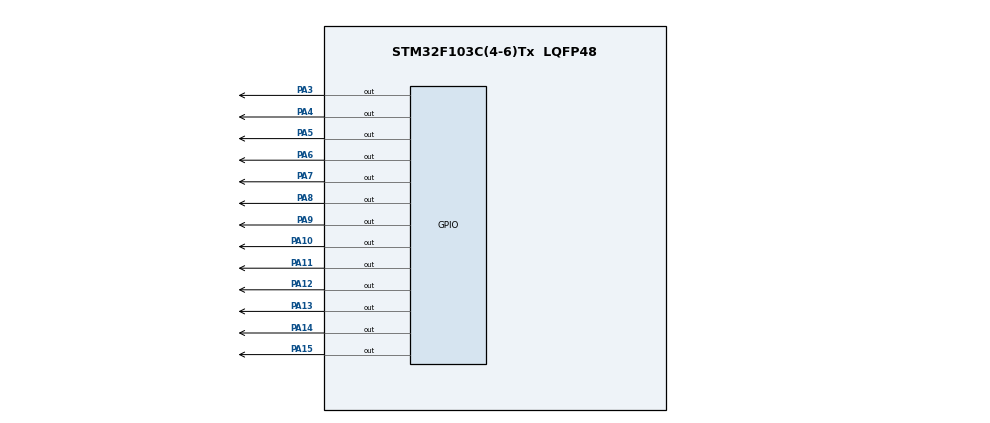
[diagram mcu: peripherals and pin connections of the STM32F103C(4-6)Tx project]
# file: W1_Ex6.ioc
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Mcu.Family=STM32F1
Mcu.Name=STM32F103C(4-6)Tx
Mcu.Package=LQFP48
NVIC.PriorityGroup=NVIC_PRIORITYGROUP_4
PA10.Signal=GPIO_Output
PA11.Signal=GPIO_Output
PA12.Signal=GPIO_Output
PA13.Signal=GPIO_Output
PA14.Signal=GPIO_Output
PA15.Signal=GPIO_Output
PA3.Signal=GPIO_Output
PA4.Signal=GPIO_Output
PA5.Signal=GPIO_Output
PA6.Signal=GPIO_Output
PA7.Signal=GPIO_Output
PA8.Signal=GPIO_Output
PA9.Signal=GPIO_Output
PD0-OSC_IN.Mode=HSE-External-Oscillator
PD0-OSC_IN.Signal=RCC_OSC_IN
PD1-OSC_OUT.Mode=HSE-External-Oscillator
PD1-OSC_OUT.Signal=RCC_OSC_OUT
ProjectManager.HeapSize=0x200
ProjectManager.StackSize=0x400
ProjectManager.TargetToolchain=STM32CubeIDE
RCC.APB1Freq_Value=8000000
RCC.APB2Freq_Value=8000000
VP_SYS_VS_ND.Mode=No_Debug
board=custom

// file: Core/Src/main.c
/* USER CODE BEGIN Header */
/**
  ******************************************************************************
  * @file           : main.c
  * @brief          : Main program body
  ******************************************************************************
  * @attention
  *
  * <h2><center>&copy; Copyright (c) 2021 STMicroelectronics.
  * All rights reserved.</center></h2>
  *
  * This software component is licensed by ST under BSD 3-Clause license,
  * the "License"; You may not use this file except in compliance with the
  * License. You may obtain a copy of the License at:
  *                        opensource.org/licenses/BSD-3-Clause
  *
  ******************************************************************************
  */
/* USER CODE END Header */
#include "main.h"

/* USER CODE BEGIN PV */
int hour = 15, minute = 59, second = 45;
/* USER CODE END PV */

void SystemClock_Config(void);
static void MX_GPIO_Init(void);

/* USER CODE BEGIN 0 */
void setNumberOnClock(int num){
	switch (num) {
		case 0:
			HAL_GPIO_WritePin(GPIOA, GPIO_PIN_4, 0);
			break;
		case 1:
			HAL_GPIO_WritePin(GPIOA, GPIO_PIN_5, 0);
			break;
		case 2:
			HAL_GPIO_WritePin(GPIOA, GPIO_PIN_6, 0);
			break;
		case 3:
			HAL_GPIO_WritePin(GPIOA, GPIO_PIN_7, 0);
			break;
		case 4:
			HAL_GPIO_WritePin(GPIOA, GPIO_PIN_8, 0);
			break;
		case 5:
			HAL_GPIO_WritePin(GPIOA, GPIO_PIN_9, 0);
			break;
		case 6:
			HAL_GPIO_WritePin(GPIOA, GPIO_PIN_10, 0);
			break;
		case 7:
			HAL_GPIO_WritePin(GPIOA, GPIO_PIN_11, 0);
			break;
		case 8:
			HAL_GPIO_WritePin(GPIOA, GPIO_PIN_12, 0);
			break;
		case 9:
			HAL_GPIO_WritePin(GPIOA, GPIO_PIN_13, 0);
			break;
		case 10:
			HAL_GPIO_WritePin(GPIOA, GPIO_PIN_14, 0);
			break;
		case 11:
			HAL_GPIO_WritePin(GPIOA, GPIO_PIN_15, 0);
			break;
		default:
			break;
	}
}

void clearAllClock(){
	HAL_GPIO_WritePin(GPIOA, GPIO_PIN_4, 1);
	HAL_GPIO_WritePin(GPIOA, GPIO_PIN_5, 1);
	HAL_GPIO_WritePin(GPIOA, GPIO_PIN_6, 1);
	HAL_GPIO_WritePin(GPIOA, GPIO_PIN_7, 1);
	HAL_GPIO_WritePin(GPIOA, GPIO_PIN_8, 1);
	HAL_GPIO_WritePin(GPIOA, GPIO_PIN_9, 1);
	HAL_GPIO_WritePin(GPIOA, GPIO_PIN_10, 1);
	HAL_GPIO_WritePin(GPIOA, GPIO_PIN_11, 1);
	HAL_GPIO_WritePin(GPIOA, GPIO_PIN_12, 1);
	HAL_GPIO_WritePin(GPIOA, GPIO_PIN_13, 1);
	HAL_GPIO_WritePin(GPIOA, GPIO_PIN_14, 1);
	HAL_GPIO_WritePin(GPIOA, GPIO_PIN_15, 1);
}

void clearNumberOnClock(int num){
	switch (num) {
		case 0:
			HAL_GPIO_WritePin(GPIOA, GPIO_PIN_4, 1);
			break;
		case 1:
			HAL_GPIO_WritePin(GPIOA, GPIO_PIN_5, 1);
			break;
		case 2:
			HAL_GPIO_WritePin(GPIOA, GPIO_PIN_6, 1);
			break;
		case 3:
			HAL_GPIO_WritePin(GPIOA, GPIO_PIN_7, 1);
			break;
		case 4:
			HAL_GPIO_WritePin(GPIOA, GPIO_PIN_8, 1);
			break;
		case 5:
			HAL_GPIO_WritePin(GPIOA, GPIO_PIN_9, 1);
			break;
		case 6:
			HAL_GPIO_WritePin(GPIOA, GPIO_PIN_10, 1);
			break;
		case 7:
			HAL_GPIO_WritePin(GPIOA, GPIO_PIN_11, 1);
			break;
		case 8:
			HAL_GPIO_WritePin(GPIOA, GPIO_PIN_12, 1);
			break;
		case 9:
			HAL_GPIO_WritePin(GPIOA, GPIO_PIN_13, 1);
			break;
		case 10:
			HAL_GPIO_WritePin(GPIOA, GPIO_PIN_14, 1);
			break;
		case 11:
			HAL_GPIO_WritePin(GPIOA, GPIO_PIN_15, 1);
			break;
		default:
			break;
	}
};

/* USER CODE END 0 */

int main(void)
{

  /* MCU Configuration--------------------------------------------------------*/

  /* Reset of all peripherals, Initializes the Flash interface and the Systick. */
  HAL_Init();

  /* Configure the system clock */
  SystemClock_Config();

  /* Initialize all configured peripherals */
  MX_GPIO_Init();
  /* USER CODE BEGIN 2 */

  // turn off all LEDs
  clearAllClock();

  /* USER CODE END 2 */

  /* Infinite loop */
  while (1)
  {
	    /* USER CODE END WHILE */

	  	  	// set LED for hour
			setNumberOnClock(hour % 12);
			// set LED for minute
			setNumberOnClock(minute / 5);
			// set LED for second
			setNumberOnClock(second / 5);

			// Delay 1s
			HAL_Delay(1000);

			// turn off all LEDs
			clearAllClock();

			// update hour, minute, second
			second ++;
			if ( second >= 60) {
				second = 0;
				minute ++;
			}

			if( minute >= 60) {
				minute = 0;
				hour ++;
			}

			if( hour >= 24){
				hour = 0;
			}

	    /* USER CODE BEGIN 3 */
    /* USER CODE BEGIN 3 */
  }
  /* USER CODE END 3 */
}

void SystemClock_Config(void)
{
  RCC_OscInitTypeDef RCC_OscInitStruct = {0};
  RCC_ClkInitTypeDef RCC_ClkInitStruct = {0};

  /** Initializes the RCC Oscillators according to the specified parameters
  * in the RCC_OscInitTypeDef structure.
  */
  RCC_OscInitStruct.OscillatorType = RCC_OSCILLATORTYPE_HSI;
  RCC_OscInitStruct.HSIState = RCC_HSI_ON;
  RCC_OscInitStruct.HSICalibrationValue = RCC_HSICALIBRATION_DEFAULT;
  RCC_OscInitStruct.PLL.PLLState = RCC_PLL_NONE;
  if (HAL_RCC_OscConfig(&RCC_OscInitStruct) != HAL_OK)
  {
    Error_Handler();
  }
  /** Initializes the CPU, AHB and APB buses clocks
  */
  RCC_ClkInitStruct.ClockType = RCC_CLOCKTYPE_HCLK|RCC_CLOCKTYPE_SYSCLK
                              |RCC_CLOCKTYPE_PCLK1|RCC_CLOCKTYPE_PCLK2;
  RCC_ClkInitStruct.SYSCLKSource = RCC_SYSCLKSOURCE_HSI;
  RCC_ClkInitStruct.AHBCLKDivider = RCC_SYSCLK_DIV1;
  RCC_ClkInitStruct.APB1CLKDivider = RCC_HCLK_DIV1;
  RCC_ClkInitStruct.APB2CLKDivider = RCC_HCLK_DIV1;

  if (HAL_RCC_ClockConfig(&RCC_ClkInitStruct, FLASH_LATENCY_0) != HAL_OK)
  {
    Error_Handler();
  }
}

static void MX_GPIO_Init(void)
{
  GPIO_InitTypeDef GPIO_InitStruct = {0};

  /* GPIO Ports Clock Enable */
  __HAL_RCC_GPIOD_CLK_ENABLE();
  __HAL_RCC_GPIOA_CLK_ENABLE();

  /*Configure GPIO pin Output Level */
  HAL_GPIO_WritePin(GPIOA, GPIO_PIN_4|GPIO_PIN_5|GPIO_PIN_6|GPIO_PIN_7
                          |GPIO_PIN_8|GPIO_PIN_9|GPIO_PIN_10|GPIO_PIN_11
                          |GPIO_PIN_12|GPIO_PIN_13|GPIO_PIN_14|GPIO_PIN_15, GPIO_PIN_RESET);

  /*Configure GPIO pins : PA4 PA5 PA6 PA7
                           PA8 PA9 PA10 PA11
                           PA12 PA13 PA14 PA15 */
  GPIO_InitStruct.Pin = GPIO_PIN_4|GPIO_PIN_5|GPIO_PIN_6|GPIO_PIN_7
                          |GPIO_PIN_8|GPIO_PIN_9|GPIO_PIN_10|GPIO_PIN_11
                          |GPIO_PIN_12|GPIO_PIN_13|GPIO_PIN_14|GPIO_PIN_15;
  GPIO_InitStruct.Mode = GPIO_MODE_OUTPUT_PP;
  GPIO_InitStruct.Pull = GPIO_NOPULL;
  GPIO_InitStruct.Speed = GPIO_SPEED_FREQ_LOW;
  HAL_GPIO_Init(GPIOA, &GPIO_InitStruct);

}

void Error_Handler(void)
{
  __disable_irq();
  while (1)
  {
  }
}

/************************ (C) COPYRIGHT STMicroelectronics *****END OF FILE****/
